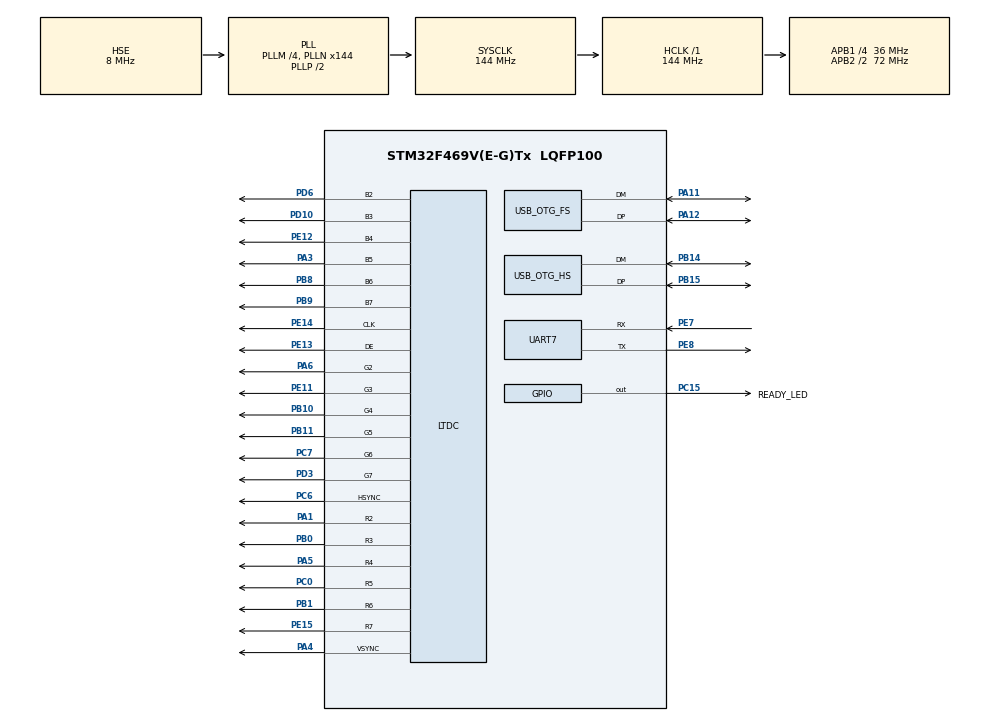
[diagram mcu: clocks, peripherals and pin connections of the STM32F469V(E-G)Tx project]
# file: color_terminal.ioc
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Mcu.Family=STM32F4
NVIC.OTG_HS_IRQn=true\:0\:0\:false\:false\:true\:false\:true
PA6.Mode=RGB666
VP_USB_DEVICE_VS_USB_DEVICE_CDC_HS.Mode=CDC_HS
RCC.CortexFreq_Value=144000000
PC15/OSC32_OUT.GPIO_Label=READY_LED
PB10.Mode=RGB666
LTDC.HBP=48
PA11.Mode=Host_Only
PB11.Signal=LTDC_G5
PB15.Signal=USB_OTG_HS_DP
VP_USB_HOST_VS_USB_HOST_HID_FS.Mode=HID_FS
Dma.UART7_TX.1.Instance=DMA1_Stream1
RCC.SYSCLKSource=RCC_SYSCLKSOURCE_PLLCLK
ProjectManager.StackSize=0x2000
USB_OTG_FS.speed=HCD_SPEED_LOW
PA12.Signal=USB_OTG_FS_DP
TIM1.Prescaler=14400
PE11.Mode=RGB666
PA4.Mode=RGB666
PH0/OSC_IN.Mode=HSE-External-Oscillator
RCC.HCLKFreq_Value=144000000
Dma.UART7_TX.1.PeriphDataAlignment=DMA_PDATAALIGN_BYTE
RCC.APB2TimFreq_Value=144000000
PC7.Signal=LTDC_G6
LTDC.WindowX1_L0=640
PH1/OSC_OUT.Signal=RCC_OSC_OUT
PD10.Mode=RGB666
USB_DEVICE.VirtualMode-CDC_HS=Cdc
RCC.AHBFreq_Value=144000000
Dma.UART7_RX.0.MemDataAlignment=DMA_MDATAALIGN_BYTE
RCC.HSE_VALUE=8000000
USB_OTG_FS.phy_itface=HCD_PHY_EMBEDDED
USB_DEVICE.USBD_DEBUG_LEVEL-CDC_HS=3
LTDC.VBP=33
LTDC.PixelFormat_L0=LTDC_PIXEL_FORMAT_L8
PE13.Signal=LTDC_DE
PB14.Mode=Device_Only_FS
USB_HOST.USBH_HandleTypeDef-HID_FS=hUsbHostFS
Dma.UART7_TX.1.PeriphInc=DMA_PINC_DISABLE
LTDC.HFP=16
PE13.Mode=RGB666
PD3.Mode=RGB666
PH1/OSC_OUT.Mode=HSE-External-Oscillator
LTDC.HSync=96
USB_HOST.USBH_DEBUG_LEVEL-HID_FS=3
Dma.UART7_RX.0.Priority=DMA_PRIORITY_LOW
VP_TIM1_VS_ClockSourceINT.Mode=Internal
Dma.UART7_RX.0.Mode=DMA_CIRCULAR
Mcu.Package=LQFP100
PB9.Signal=LTDC_B7
PB1.Signal=LTDC_R6
PA6.Signal=LTDC_G2
Dma.UART7_RX.0.PeriphInc=DMA_PINC_DISABLE
NVIC.OTG_FS_IRQn=true\:0\:0\:false\:false\:true\:false\:true
USB_OTG_FS.VirtualMode=Host_Only
USB_DEVICE.CLASS_NAME_HS=CDC
RCC.PLLSAIN=50
USB_DEVICE.VirtualModeHS=Cdc_HS
RCC.APB2CLKDivider=RCC_HCLK_DIV2
LTDC.VSync=2
Dma.Request1=UART7_TX
RCC.APB1TimFreq_Value=72000000
TIM1.Period=10
PE7.Signal=UART7_RX
PD6.Signal=LTDC_B2
Dma.Request0=UART7_RX
PA3.Signal=LTDC_B5
PA5.Mode=RGB666
PE12.Mode=RGB666
Dma.UART7_RX.0.MemInc=DMA_MINC_ENABLE
LTDC.VFP=10
Dma.UART7_TX.1.MemDataAlignment=DMA_MDATAALIGN_BYTE
LTDC.WindowY1_L0=480
Dma.UART7_TX.1.Direction=DMA_MEMORY_TO_PERIPH
Dma.UART7_TX.1.Mode=DMA_NORMAL
PD3.Signal=LTDC_G7
PC6.Signal=LTDC_HSYNC
NVIC.DMA1_Stream1_IRQn=true\:0\:0\:false\:false\:true\:false\:true
Dma.UART7_RX.0.Instance=DMA1_Stream3
Dma.UART7_RX.0.PeriphDataAlignment=DMA_PDATAALIGN_BYTE
UART7.VirtualMode=Asynchronous
PC0.Signal=LTDC_R5
RCC.APB1CLKDivider=RCC_HCLK_DIV4
PD6.Mode=RGB666
USB_OTG_HS.VirtualMode-Device_Only_FS=Device_Only_FS
PC0.Mode=RGB666
LTDC.ImageWidth_L0=640
PE8.Mode=Asynchronous
PD10.Signal=LTDC_B3
PA3.Mode=RGB666
PB11.Mode=RGB666
ProjectManager.TargetToolchain=Makefile
PC6.Mode=RGB666
Dma.UART7_RX.0.FIFOMode=DMA_FIFOMODE_DISABLE
PB9.Mode=RGB666
RCC.USBFreq_Value=48000000
PE11.Signal=LTDC_G3
PA1.Signal=LTDC_R2
PB10.Signal=LTDC_G4
PB14.Signal=USB_OTG_HS_DM
PA5.Signal=LTDC_R4
PB0.Mode=RGB666
board=custom
Dma.UART7_TX.1.Priority=DMA_PRIORITY_LOW
RCC.VCOOutputFreq_Value=288000000
USB_HOST.VirtualModeFS=Hid
PB15.Mode=Device_Only_FS
PH0/OSC_IN.Signal=RCC_OSC_IN
RCC.APB2Freq_Value=72000000
PE14.Signal=LTDC_CLK
PA1.Mode=RGB666
Dma.UART7_TX.1.FIFOMode=DMA_FIFOMODE_DISABLE
PE15.Signal=LTDC_R7
LTDC.Layers=0
PE8.Signal=UART7_TX
PE14.Mode=RGB666
Dma.UART7_RX.0.Direction=DMA_PERIPH_TO_MEMORY
Mcu.Name=STM32F469V(E-G)Tx
PE12.Signal=LTDC_B4
PA4.Signal=LTDC_VSYNC
RCC.SYSCLKFreq_VALUE=144000000
PE7.Mode=Asynchronous
PA12.Mode=Host_Only
LTDC.Alpha_L0=255
PA11.Signal=USB_OTG_FS_DM
ProjectManager.HeapSize=0x1000
Dma.UART7_TX.1.MemInc=DMA_MINC_ENABLE
PB1.Mode=RGB666
NVIC.TIM1_UP_TIM10_IRQn=true\:0\:0\:false\:false\:true\:true\:true
RCC.PLLQ=6
NVIC.PriorityGroup=NVIC_PRIORITYGROUP_4
RCC.PLLM=4
PB8.Mode=RGB666
RCC.PLLN=144
PB8.Signal=LTDC_B6
NVIC.DMA1_Stream3_IRQn=true\:0\:0\:false\:false\:true\:false\:true
PC15/OSC32_OUT.Signal=GPIO_Output
PC7.Mode=RGB666
RCC.APB1Freq_Value=36000000
LTDC.ImageHeight_L0=480
PB0.Signal=LTDC_R3
PE15.Mode=RGB666
NVIC.UART7_IRQn=true\:0\:0\:false\:false\:true\:true\:true

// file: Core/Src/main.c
/* USER CODE BEGIN Header */
/**
  ******************************************************************************
  * @file           : main.c
  * @brief          : Main program body
  ******************************************************************************
  * @attention
  *
  * <h2><center>&copy; Copyright (c) 2020 STMicroelectronics.
  * All rights reserved.</center></h2>
  *
  * This software component is licensed by ST under Ultimate Liberty license
  * SLA0044, the "License"; You may not use this file except in compliance with
  * the License. You may obtain a copy of the License at:
  *                             www.st.com/SLA0044
  *
  ******************************************************************************
  */
/* USER CODE END Header */

#include "main.h"
#include "dma.h"
#include "ltdc.h"
#include "tim.h"
#include "usart.h"
#include "usb_device.h"
#include "usb_host.h"
#include "gpio.h"

/* USER CODE BEGIN Includes */

#include <stdbool.h>

#include "usbh_core.h"
#include "usbh_hid.h"
#include "usbd_cdc_if.h"

#include "keys.h"
#include "terminal.h"
#include "terminal_config_ui.h"

extern USBH_HandleTypeDef hUsbHostFS;
extern ApplicationTypeDef Appli_state;

/* USER CODE END Includes */

void SystemClock_Config(void);
void MX_USB_HOST_Process(void);

/* USER CODE BEGIN 0 */

int _write(int file, char *ptr, int len) {
  CDC_Transmit_HS(ptr, len);
  return len;
}

struct terminal *global_terminal = NULL;
struct terminal_config_ui *global_terminal_config_ui = NULL;

#define UART_TRANSMIT_BUFFER_SIZE 256
#define UART_RECEIVE_BUFFER_SIZE (1024 * 16)
#define LOCAL_BUFFER_SIZE 256

__attribute__((section(".dma"))) static character_t
    uart_transmit_buffer[UART_TRANSMIT_BUFFER_SIZE];
__attribute__((section(".dma"))) static character_t
    uart_receive_buffer[UART_RECEIVE_BUFFER_SIZE];

static character_t local_buffer[LOCAL_BUFFER_SIZE];

static size_t local_head = 0;
static size_t local_tail = 0;

#define MAX_COLS 80
#define MAX_ROWS 30
#define TAB_STOPS_SIZE (MAX_COLS / 8)

static struct visual_cell default_cells[MAX_ROWS * MAX_COLS];
static struct visual_cell alt_cells[MAX_ROWS * MAX_COLS];
uint8_t tab_stops[TAB_STOPS_SIZE];

__attribute__((
    __section__(".flash_data"))) struct terminal_config terminal_config = {
    .format_rows = FORMAT_24_ROWS,

    .baud_rate = BAUD_RATE_115200,
    .word_length = WORD_LENGTH_8B,
    .stop_bits = STOP_BITS_1,
    .parity = PARITY_NONE,

    .charset = CHARSET_UTF8,
    .keyboard_compatibility = KEYBOARD_COMPATIBILITY_PC,
    .receive_c1_mode = C1_MODE_8BIT,
    .transmit_c1_mode = C1_MODE_7BIT,

    .auto_wrap_mode = true,
    .screen_mode = false,

    .send_receive_mode = true,

    .new_line_mode = false,
    .cursor_key_mode = false,
    .auto_repeat_mode = true,
    .ansi_mode = true,
    .backspace_mode = false,
    .application_keypad_mode = false,
    .keyboard_layout = KEYBOARD_LAYOUT_US,

    .start_up = START_UP_MESSAGE,

    .flow_control = true,
};

static void reset() {
  HAL_NVIC_SystemReset();
}

static void yield() {
  MX_USB_HOST_Process();

  if (Appli_state == APPLICATION_READY) {

    HID_KEYBD_Info_TypeDef *info = USBH_HID_GetKeybdInfo(&hUsbHostFS);

    if (info && global_terminal) {
      bool menu = false;
      uint8_t key = KEY_NONE;

      for (size_t i = 0; i < 6; ++i) {
        if (info->keys[i] == KEY_MENU) {
          menu = true;
        } else if (key == KEY_NONE) {
          key = info->keys[i];
        }
      }

      terminal_keyboard_handle_key(
          global_terminal, info->lshift || info->rshift,
          info->lalt || info->ralt, info->lctrl || info->rctrl,
          info->lgui || info->rgui, menu, key);
    }
  }
}

static void uart_transmit(character_t *characters, size_t size, size_t head) {
#ifdef DEBUG_LOG_TX
  printf("TX: %d\r\n", size);
#endif
  if (!global_terminal->send_receive_mode) {
    while (size--) {
      local_buffer[local_head] = *characters;
      local_head++;
      characters++;

      if (local_head == LOCAL_BUFFER_SIZE)
        local_head = 0;
    }
  }

  while (HAL_UART_Transmit_DMA(&huart7, (void *)characters, size) != HAL_OK)
    ;
}

static void screen_draw_codepoint_callback(struct format format, size_t row,
                                           size_t col, codepoint_t codepoint,
                                           enum font font, bool italic,
                                           bool underlined, bool crossedout,
                                           color_t active, color_t inactive) {
  screen_draw_codepoint(ltdc_get_screen(format), row, col, codepoint, font,
                        italic, underlined, crossedout, active, inactive);
}

static void screen_clear_rows_callback(struct format format, size_t from_row,
                                       size_t to_row, color_t inactive) {
  screen_clear_rows(ltdc_get_screen(format), from_row, to_row, inactive, yield);
}

static void screen_clear_cols_callback(struct format format, size_t row,
                                       size_t from_col, size_t to_col,
                                       color_t inactive) {
  screen_clear_cols(ltdc_get_screen(format), row, from_col, to_col, inactive,
                    yield);
}

static void screen_scroll_callback(struct format format, enum scroll scroll,
                                   size_t from_row, size_t to_row, size_t rows,
                                   color_t inactive) {
  screen_scroll(ltdc_get_screen(format), scroll, from_row, to_row, rows,
                inactive, yield);
}

static void screen_shift_right_callback(struct format format, size_t row,
                                        size_t col, size_t cols,
                                        color_t inactive) {
  screen_shift_right(ltdc_get_screen(format), row, col, cols, inactive, yield);
}

static void screen_shift_left_callback(struct format format, size_t row,
                                       size_t col, size_t cols,
                                       color_t inactive) {
  screen_shift_left(ltdc_get_screen(format), row, col, cols, inactive, yield);
}

#define MANDELBROT_X -0.7453
#define MANDELBROT_Y 0.1127
#define MANDELBROT_R 6.5e-4

static void screen_test_callback(struct format format,
                                 enum screen_test screen_test) {
  struct screen *screen = ltdc_get_screen(format);
  switch (screen_test) {
  case SCREEN_TEST_FONT1:
    screen_test_fonts(screen, FONT_NORMAL);
    break;
  case SCREEN_TEST_FONT2:
    screen_test_fonts(screen, FONT_BOLD);
    break;
  case SCREEN_TEST_COLOR1:
    screen_test_colors(screen);
    break;
  case SCREEN_TEST_COLOR2:
    screen_test_mandelbrot(screen, MANDELBROT_X, MANDELBROT_Y, MANDELBROT_R,
                           NULL);
    break;
  }
}

static void activate_config() {
  terminal_config_ui_activate(global_terminal_config_ui);
}

static void write_config(struct terminal_config *terminal_config_copy) {
  HAL_FLASH_Unlock();
  __HAL_FLASH_CLEAR_FLAG(FLASH_FLAG_EOP | FLASH_FLAG_OPERR | FLASH_FLAG_WRPERR |
                         FLASH_FLAG_PGAERR | FLASH_FLAG_PGSERR);
  FLASH_Erase_Sector(FLASH_SECTOR_11, VOLTAGE_RANGE_3);

  for (size_t i = 0; i < sizeof(struct terminal_config); ++i)
    HAL_FLASH_Program(TYPEPROGRAM_BYTE,
                      (uint32_t)((uint8_t *)&terminal_config + i),
                      *(((uint8_t *)terminal_config_copy) + i));

  HAL_FLASH_Lock();
}

static void keyboard_set_leds(struct lock_state state) {
  uint8_t led_state =
      (state.scroll ? 0x4 : 0) | (state.caps ? 0x2 : 0) | (state.num ? 1 : 0);
  while (USBH_HID_SetReport(&hUsbHostFS, 0x02, 0x0, &led_state, 1) == USBH_BUSY)
    ;
}

/* USER CODE END 0 */

int main(void)
{

  /* MCU Configuration--------------------------------------------------------*/

  /* Reset of all peripherals, Initializes the Flash interface and the Systick. */
  HAL_Init();

  /* Configure the system clock */
  SystemClock_Config();

  /* Initialize all configured peripherals */
  MX_GPIO_Init();
  MX_DMA_Init();
  MX_LTDC_Init();
  MX_UART7_Init();
  MX_USB_HOST_Init();
  MX_USB_DEVICE_Init();
  MX_TIM1_Init();
  /* USER CODE BEGIN 2 */

  struct terminal terminal;
  struct terminal_callbacks callbacks = {
      .keyboard_set_leds = keyboard_set_leds,
      .uart_transmit = uart_transmit,
      .screen_draw_codepoint = screen_draw_codepoint_callback,
      .screen_clear_rows = screen_clear_rows_callback,
      .screen_clear_cols = screen_clear_cols_callback,
      .screen_scroll = screen_scroll_callback,
      .screen_shift_left = screen_shift_left_callback,
      .screen_shift_right = screen_shift_right_callback,
      .screen_test = screen_test_callback,
      .reset = reset,
      .yield = yield,
      .activate_config = activate_config,
      .write_config = write_config};
  terminal_init(&terminal, &callbacks, default_cells, alt_cells, tab_stops,
                TAB_STOPS_SIZE, &terminal_config, uart_transmit_buffer,
                UART_TRANSMIT_BUFFER_SIZE);
  global_terminal = &terminal;

  struct terminal_config_ui terminal_config_ui;
  global_terminal_config_ui = &terminal_config_ui;
  terminal_config_ui_init(&terminal_config_ui, &terminal, &terminal_config);

  terminal_keyboard_update_leds(&terminal);

  HAL_TIM_Base_Start_IT(&htim1);
  while (HAL_UART_Receive_DMA(&huart7, uart_receive_buffer,
                              UART_RECEIVE_BUFFER_SIZE) != HAL_OK)
    ;

  uint16_t uart_receive_tail = 0;

  HAL_GPIO_WritePin(READY_LED_GPIO_Port, READY_LED_Pin, GPIO_PIN_SET);

  /* USER CODE END 2 */

  /* Infinite loop */
  while (1)
  {
    MX_USB_HOST_Process();

    /* USER CODE BEGIN 3 */
    terminal_screen_update(&terminal);
    terminal_keyboard_repeat_key(&terminal);

    yield();

    if (terminal_config_ui.activated)
      continue;

    if (local_tail != local_head) {
      size_t size = 0;
      if (local_tail < local_head)
        size = local_head - local_tail;
      else
        size = local_head + (LOCAL_BUFFER_SIZE - local_tail);

      while (size--) {
        character_t character = local_buffer[local_tail];
        terminal_uart_receive_character(&terminal, character);
        local_tail++;

        if (local_tail == LOCAL_BUFFER_SIZE)
          local_tail = 0;
      }
    }

    uint16_t uart_receive_head =
        UART_RECEIVE_BUFFER_SIZE - huart7.hdmarx->Instance->NDTR;

    if (uart_receive_tail != uart_receive_head) {
      uint16_t size = 0;
      if (uart_receive_tail < uart_receive_head)
        size = uart_receive_head - uart_receive_tail;
      else
        size =
            uart_receive_head + (UART_RECEIVE_BUFFER_SIZE - uart_receive_tail);

#ifdef DEBUG_LOG_RX
      printf("RX: %d\r\n", size);
#endif

      terminal_uart_flow_control(&terminal, size);

      while (size--) {
        yield();

        if (terminal_config_ui.activated)
          break;

        terminal_uart_flow_control(&terminal, size);

        character_t character = uart_receive_buffer[uart_receive_tail];
        terminal_uart_receive_character(&terminal, character);
        uart_receive_tail++;

        if (uart_receive_tail == UART_RECEIVE_BUFFER_SIZE)
          uart_receive_tail = 0;
      }
    } else {
      terminal_uart_flow_control(&terminal, 0);
    }
  }
  /* USER CODE END 3 */
}

void SystemClock_Config(void)
{
  RCC_OscInitTypeDef RCC_OscInitStruct = {0};
  RCC_ClkInitTypeDef RCC_ClkInitStruct = {0};
  RCC_PeriphCLKInitTypeDef PeriphClkInitStruct = {0};

  /** Configure the main internal regulator output voltage
  */
  __HAL_RCC_PWR_CLK_ENABLE();
  __HAL_PWR_VOLTAGESCALING_CONFIG(PWR_REGULATOR_VOLTAGE_SCALE2);
  /** Initializes the CPU, AHB and APB busses clocks
  */
  RCC_OscInitStruct.OscillatorType = RCC_OSCILLATORTYPE_HSE;
  RCC_OscInitStruct.HSEState = RCC_HSE_ON;
  RCC_OscInitStruct.PLL.PLLState = RCC_PLL_ON;
  RCC_OscInitStruct.PLL.PLLSource = RCC_PLLSOURCE_HSE;
  RCC_OscInitStruct.PLL.PLLM = 4;
  RCC_OscInitStruct.PLL.PLLN = 144;
  RCC_OscInitStruct.PLL.PLLP = RCC_PLLP_DIV2;
  RCC_OscInitStruct.PLL.PLLQ = 6;
  RCC_OscInitStruct.PLL.PLLR = 2;
  if (HAL_RCC_OscConfig(&RCC_OscInitStruct) != HAL_OK)
  {
    Error_Handler();
  }
  /** Initializes the CPU, AHB and APB busses clocks
  */
  RCC_ClkInitStruct.ClockType = RCC_CLOCKTYPE_HCLK|RCC_CLOCKTYPE_SYSCLK
                              |RCC_CLOCKTYPE_PCLK1|RCC_CLOCKTYPE_PCLK2;
  RCC_ClkInitStruct.SYSCLKSource = RCC_SYSCLKSOURCE_PLLCLK;
  RCC_ClkInitStruct.AHBCLKDivider = RCC_SYSCLK_DIV1;
  RCC_ClkInitStruct.APB1CLKDivider = RCC_HCLK_DIV4;
  RCC_ClkInitStruct.APB2CLKDivider = RCC_HCLK_DIV2;

  if (HAL_RCC_ClockConfig(&RCC_ClkInitStruct, FLASH_LATENCY_4) != HAL_OK)
  {
    Error_Handler();
  }
  PeriphClkInitStruct.PeriphClockSelection = RCC_PERIPHCLK_CLK48|RCC_PERIPHCLK_LTDC;
  PeriphClkInitStruct.PLLSAI.PLLSAIN = 50;
  PeriphClkInitStruct.PLLSAI.PLLSAIR = 2;
  PeriphClkInitStruct.PLLSAIDivR = RCC_PLLSAIDIVR_2;
  PeriphClkInitStruct.Clk48ClockSelection = RCC_CLK48CLKSOURCE_PLLQ;
  if (HAL_RCCEx_PeriphCLKConfig(&PeriphClkInitStruct) != HAL_OK)
  {
    Error_Handler();
  }
}

void Error_Handler(void)
{
}

/************************ (C) COPYRIGHT STMicroelectronics *****END OF FILE****/
